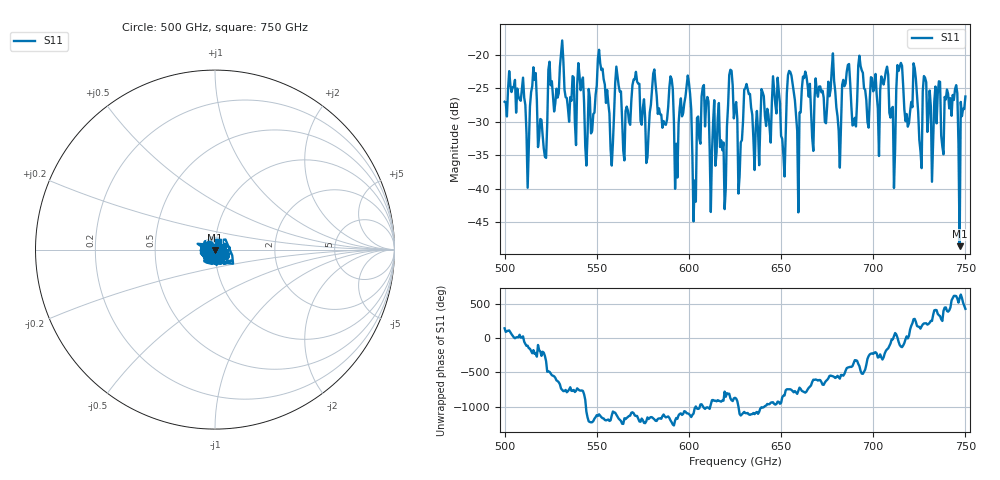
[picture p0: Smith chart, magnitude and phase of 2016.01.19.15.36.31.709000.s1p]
!Created with skrf (http://scikit-rf.org).
# GHz S RI R 50.0
!freq ReS11 ImS11
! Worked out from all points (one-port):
!   401 points, 500 GHz to 750 GHz, reference 50 ohm
!   lowest |S11| = -48.6 dB at 746.9 GHz (marker M1), VSWR 1.01, Z = 49.7 - j0.263 ohm
!   |S11| at or under -10 dB: start of sweep to end of sweep
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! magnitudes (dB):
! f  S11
! 500 GHz  -27.0
! 512.5 GHz  -39.9
! 515.6 GHz  -21.9
! 521.9 GHz  -35.2
! 531.2 GHz  -17.9
! 544.4 GHz  -36.6
! 551.9 GHz  -21.3
! 558.1 GHz  -36.6
! 562.5 GHz  -25.5
! 590 GHz  -23.2
! 593.8 GHz  -38.3
! 599.4 GHz  -23.1
! 603.1 GHz  -38.8
! 608.1 GHz  -24.5
! 618.8 GHz  -33.1
! 622.5 GHz  -22.3
! 625 GHz  -28.0
! 628.1 GHz  -33.1
! 631.2 GHz  -24.4
! 646.9 GHz  -27.4
! 651.2 GHz  -34.9
! 656.2 GHz  -24.3
! 659.4 GHz  -43.5
! 662.5 GHz  -23.5
! 687.5 GHz  -24.2
! 718.8 GHz  -30.7
! 746.9 GHz  -48.6
! 750 GHz  -26.2
